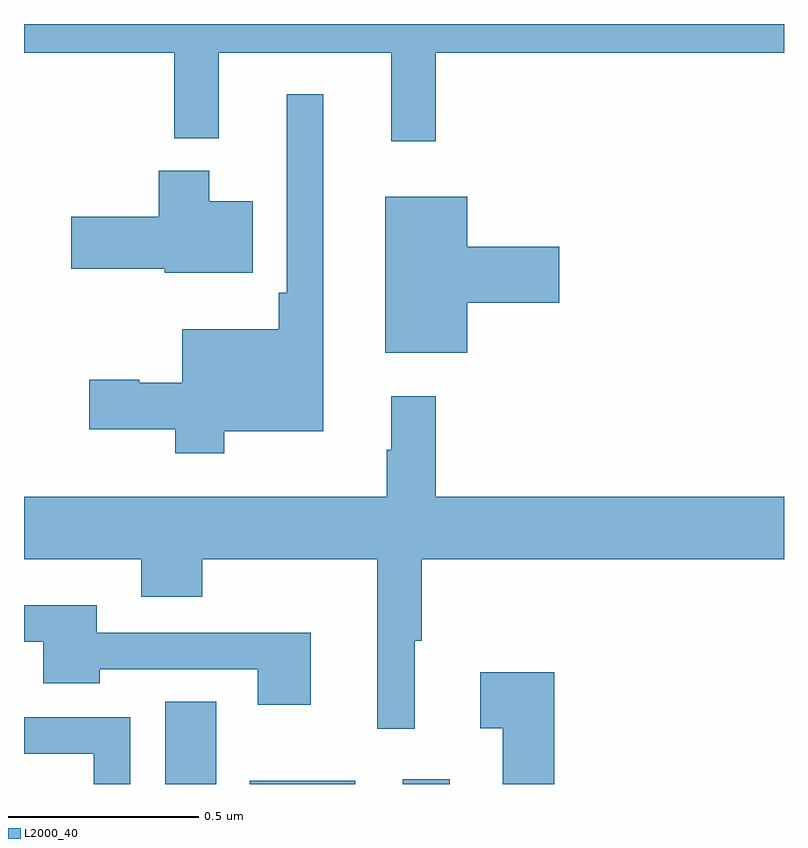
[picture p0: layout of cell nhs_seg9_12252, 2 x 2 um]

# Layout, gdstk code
import gdstk
lib = gdstk.Library(unit=1e-6, precision=1e-09)
def R(c, l, rs):  # rectangles x0, y0, x1, y1
    for r in rs: c.add(gdstk.rectangle(r[:2], r[2:], *l))
def P(c, l, *ps):  # polygons
    for p in ps: c.add(gdstk.Polygon(p, *l))
L2000_40 = (2000, 40)

nhs_seg9_12252 = lib.new_cell('nhs_seg9_12252')
R(nhs_seg9_12252, L2000_40, [(266.372,1190.5,266.506,1190.717), (266.594,1190.5,266.872,1190.509), (266.997,1190.5,267.121,1190.512)])
P(nhs_seg9_12252, L2000_40, [(267.083,1192.424),(268,1192.424),(268,1192.5),(266,1192.5),(266,1192.424),(266.395,1192.424),(266.395,1192.199),(266.513,1192.199),(266.513,1192.424),(266.966,1192.424),(266.966,1192.191),(267.083,1192.191)],
  [(266.527,1191.428),(266.788,1191.428),(266.788,1192.315),(266.691,1192.315),(266.691,1191.793),(266.671,1191.793),(266.671,1191.697),(266.417,1191.697),(266.417,1191.556),(266.303,1191.556),(266.303,1191.564),(266.172,1191.564),(266.172,1191.434),(266.398,1191.434),(266.398,1191.371),(266.527,1191.371)],
  [(266.602,1192.033),(266.488,1192.033),(266.488,1192.114),(266.354,1192.114),(266.354,1191.993),(266.124,1191.993),(266.124,1191.856),(266.37,1191.856),(266.37,1191.845),(266.602,1191.845)],
  [(267.166,1191.767),(267.409,1191.767),(267.409,1191.914),(267.166,1191.914),(267.166,1192.045),(266.951,1192.045),(266.951,1191.635),(267.166,1191.635)],
  [(266,1191.092),(266.309,1191.092),(266.309,1190.993),(266.469,1190.993),(266.469,1191.092),(266.93,1191.092),(266.93,1190.646),(267.028,1190.646),(267.028,1190.877),(267.047,1190.877),(267.047,1191.092),(268,1191.092),(268,1191.256),(267.083,1191.256),(267.083,1191.52),(266.966,1191.52),(266.966,1191.38),(266.955,1191.38),(266.955,1191.256),(266,1191.256)],
  [(266.755,1190.898),(266.191,1190.898),(266.191,1190.97),(266,1190.97),(266,1190.874),(266.051,1190.874),(266.051,1190.765),(266.199,1190.765),(266.199,1190.802),(266.615,1190.802),(266.615,1190.709),(266.755,1190.709)],
  [(267.395,1190.794),(267.201,1190.794),(267.201,1190.647),(267.26,1190.647),(267.26,1190.5),(267.395,1190.5)],
  [(266.28,1190.676),(266,1190.676),(266,1190.58),(266.184,1190.58),(266.184,1190.5),(266.28,1190.5)])

lib.write_gds('nhs_seg9_12252.gds')
